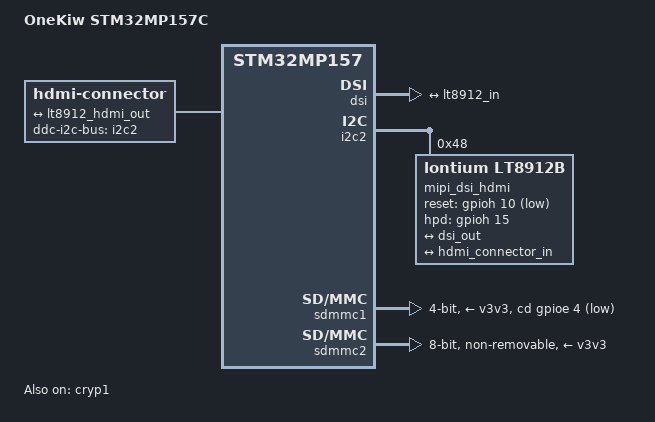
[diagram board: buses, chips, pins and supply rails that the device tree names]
// SPDX-License-Identifier: (GPL-2.0+ OR BSD-3-Clause)
/*
 * Copyright (C) STMicroelectronics 2019 - All Rights Reserved
 * Author: Alexandre Torgue <alexandre.torgue@st.com> for STMicroelectronics.
 */

/dts-v1/;

#include "stm32mp157.dtsi"
#include "stm32mp15xc.dtsi"
#include "stm32mp15-pinctrl.dtsi"
#include "stm32mp15xxac-pinctrl.dtsi"
#include "stm32mp157c-thatico.dtsi"
#include "stm32mp157c-thatico-scmi.dtsi"
#include "stm32mp157c-thatico-pin.dtsi"
#include <dt-bindings/rtc/rtc-stm32.h>

/ {
	model = "OneKiw STM32MP157C";
	compatible = "st,stm32mp157c-thatico", "st,stm32mp157";

	aliases {
		//ethernet0 = &ethernet0;
		//serial3 = &usart2;
	};

	chosen {
		#address-cells = <1>;
		#size-cells = <1>;
		ranges;
		stdout-path = "serial0:115200n8";

		framebuffer {
			compatible = "simple-framebuffer";
			clocks = <&rcc LTDC_PX>, <&rcc DSI>, <&rcc DSI_PX>;
			status = "okay";
		};
	};

	hdmi {
		compatible = "hdmi-connector";
		ddc-i2c-bus = <&i2c2>;
		label = "hdmi";
		type = "a";

		port {
			hdmi_connector_in: endpoint {
				remote-endpoint = <&lt8912_hdmi_out>;
			};
		};
	};
};

&cryp1 {
	status = "okay";
};

&dsi{
	status = "okay";
	#address-cells = <1>;
	#size-cells = <0>;

	ports {
		#address-cells = <1>;
		#size-cells = <0>;

		/*
		port@0 {
			reg = <0>;
			dsi_in: endpoint {
				remote-endpoint = <&ltdc_ep0_out>;
			};
		};*/

		port@1 {
			reg = <1>;
			dsi_out: endpoint {
				data-lanes = <0 1>;
				remote-endpoint = <&lt8912_in>;
				attach-bridge;
			};
		};
	};
};

&i2c2 {
	pinctrl-names = "default", "sleep";
	pinctrl-0 = <&i2c2_pins_x>;
	pinctrl-1 = <&i2c2_sleep_pins_x>;
	i2c-scl-rising-time-ns = <100>;
	i2c-scl-falling-time-ns = <7>;
	status = "okay";
	/delete-property/dmas;
	/delete-property/dma-names;

	mipi_dsi_hdmi: lt8912b@48 {
		compatible = "lontium,lt8912b";
		reg = <0x48>;
		//ddc-i2c-bus = <&i2c2>;
		reset-gpios = <&gpioh 10 GPIO_ACTIVE_LOW>;
		hpd-gpios = <&gpioh 15 GPIO_ACTIVE_HIGH>;
		//swap-mipi-pn;
		status = "okay";

		ports {
			#address-cells = <1>;
			#size-cells = <0>;

			port@0 {
				reg = <0>;
				lt8912_in: endpoint {
					data-lanes = <0 1>;
					remote-endpoint = <&dsi_out>;
				};
			};

			port@1 {
				reg = <1>;
				lt8912_hdmi_out: endpoint {
					remote-endpoint = <&hdmi_connector_in>;
				};
			};
		};
	};
};

&rtc {
	st,lsco = <RTC_OUT2_RMP>;
	pinctrl-0 = <&rtc_out2_rmp_pins_a>;
	pinctrl-names = "default";
};

/* micro SD */
&sdmmc1 {
	pinctrl-names = "default", "opendrain", "sleep";
	pinctrl-0 = <&sdmmc1_b4_pins_a>;
	pinctrl-1 = <&sdmmc1_b4_od_pins_a>;
	pinctrl-2 = <&sdmmc1_b4_sleep_pins_a>;
	cd-gpios = <&gpioe 4 (GPIO_ACTIVE_LOW | GPIO_PULL_UP)>;
	disable-wp;
	st,neg-edge;
	bus-width = <4>;
	vmmc-supply = <&v3v3>;
	status = "okay";
};

/* eMMC */
&sdmmc2 {
	pinctrl-names = "default", "opendrain", "sleep";
	pinctrl-0 = <&sdmmc2_b4_pins_a &sdmmc2_d47_pins_x>;
	pinctrl-1 = <&sdmmc2_b4_od_pins_a &sdmmc2_d47_pins_x>;
	pinctrl-2 = <&sdmmc2_b4_sleep_pins_a &sdmmc2_d47_sleep_pins_x>;
	non-removable;
	no-sd;
	no-sdio;
	st,neg-edge;
	bus-width = <8>;
	vmmc-supply = <&v3v3>;
	vqmmc-supply = <&vdd>;
	mmc-ddr-3_3v;
	status = "okay";
};

